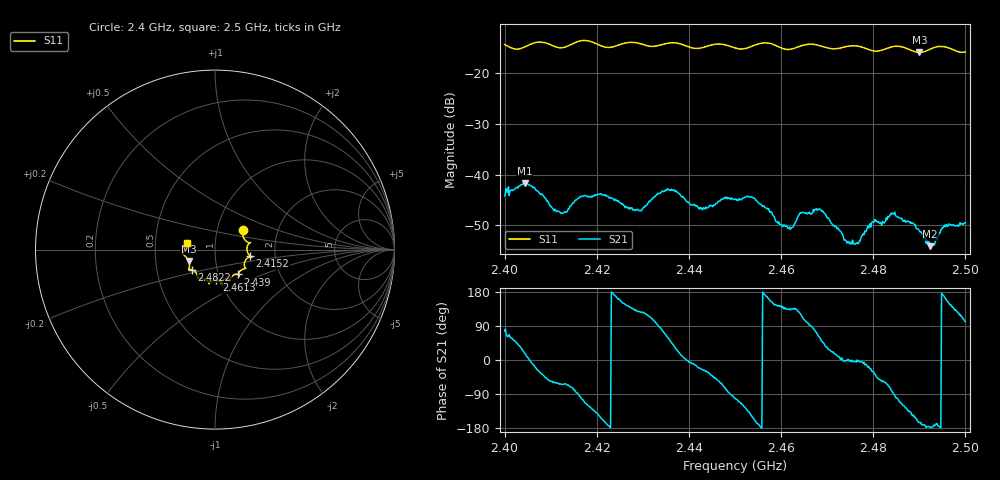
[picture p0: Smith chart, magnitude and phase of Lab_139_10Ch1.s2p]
# Hz S RI R 50
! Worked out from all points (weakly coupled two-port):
!   601 points, 2.4 GHz to 2.5 GHz, reference 50 ohm
!   highest |S21| = -41.66 dB at 2.4043 GHz (marker M1); lowest = -54.1 dB at 2.4923 GHz (marker M2)
!   lowest |S11| = -15.9 dB at 2.49 GHz (marker M3), VSWR 1.38, Z = 36.9 - j4.83 ohm
!   |S11| at or under -10 dB: start of sweep to end of sweep
!   S12 and S22 are empty: the file has one direction only
!   S11 on the Smith chart (normalised r, x): 2.4 GHz: 1.33, +0.31; 2.4152 GHz: 1.48, -0.11; 2.439 GHz: 1.24, -0.35; 2.4613 GHz: 0.96, -0.34; 2.4822 GHz: 0.76, -0.17; 2.5 GHz: 0.73, +0.05
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2.4e9  0.155 0.1116  0.00145 0.00599  0 0  0 0
2.404333e9  0.1752 0.0452  0.00788 0.00248  0 0  0 0
2.411667e9  0.1782 0.0114  0.00207 -0.00382  0 0  0 0
2.415167e9  0.1952 -0.0362  0.00111 -0.00534  0 0  0 0
2.416667e9  0.2049 -0.0423  -0.00124 -0.00592  0 0  0 0
2.421167e9  0.1772 -0.0506  -0.00578 -0.0025  0 0  0 0
2.429167e9  0.1661 -0.1059  -0.00269 0.00348  0 0  0 0
2.433333e9  0.1321 -0.1324  -8.15e-05 0.00647  0 0  0 0
2.439e9  0.1276 -0.1384  0.00579 0.000436  0 0  0 0
2.443e9  0.0907 -0.154  0.00408 -0.00197  0 0  0 0
2.45e9  0.0688 -0.1634  -0.00111 -0.00558  0 0  0 0
2.453833e9  0.0353 -0.182  -0.00522 -0.00277  0 0  0 0
2.461333e9  0.0076 -0.1711  -0.00211 0.00221  0 0  0 0
2.466667e9  -0.0338 -0.1901  0.000133 0.00417  0 0  0 0
2.468833e9  -0.0356 -0.1807  0.00277 0.00332  0 0  0 0
2.474833e9  -0.091 -0.1612  0.00207 -0.000103  0 0  0 0
2.482167e9  -0.1283 -0.1117  0.0019 -0.00282  0 0  0 0
2.483333e9  -0.1395 -0.1102  0.00132 -0.00357  0 0  0 0
2.49e9  -0.1467 -0.0637  -0.00272 -0.000718  0 0  0 0
2.492333e9  -0.169 -0.0328  -0.00197 -7.55e-05  0 0  0 0
2.4955e9  -0.181 -0.0197  -0.00308 0.000763  0 0  0 0
2.5e9  -0.1582 0.0341  -0.000627 0.00328  0 0  0 0
